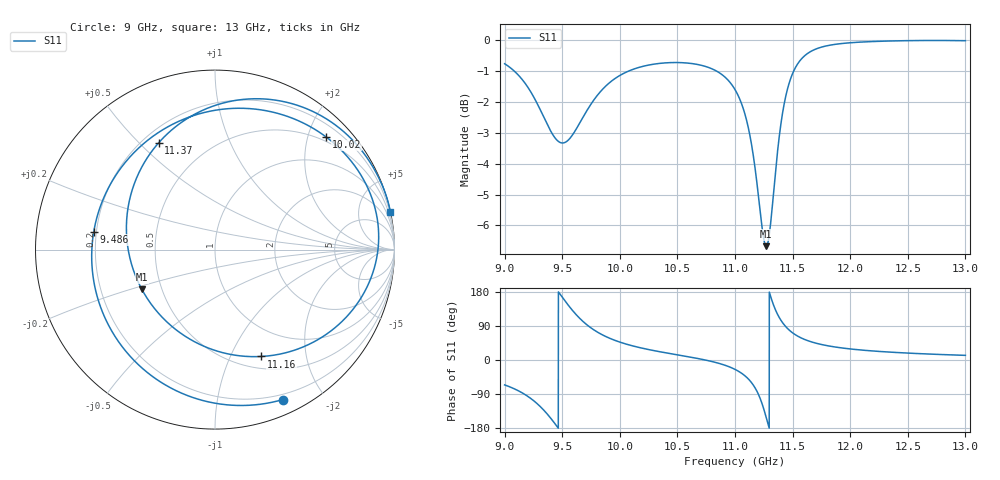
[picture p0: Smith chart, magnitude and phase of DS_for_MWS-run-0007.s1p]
! TOUCHSTONE file generated by CST DESIGN STUDIO
! Date and time: Tue Feb  4 18:21:15 2025
! Project name: C:\Work\MatlabApps\UnitCellOptimizationMatlab\CST\unitcell.cst
! Tree item: Tasks\Sweep1\SPara1\S-Parameters
! Header version: 2024
! Port assignment regex: !\s*Touchstone port\s*([0-9]+)\s*=\s*(CST MWS port|CST DES external port|CST DES block port)\s*(.+)\s* \(\"(.*)\"\)(\s*mode\s*([0-9]+))?.*
! Touchstone port assignment:
! Touchstone port 1 = CST DES external port 1 ("")
# GHz S MA R 50
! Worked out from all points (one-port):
!   4001 points, 9 GHz to 13 GHz, reference 50 ohm
!   lowest |S11| = -6.7 dB at 11.27 GHz (marker M1), VSWR 2.73, Z = 19.3 - j10.8 ohm
!   |S11| at or under -10 dB: nowhere
!   S11 on the Smith chart (normalised r, x): 9 GHz: 0.15, -1.54; 9.486 GHz: 0.19, +0.07; 10.02 GHz: 0.41, +2.34; 11.16 GHz: 0.64, -1.31; 11.37 GHz: 0.26, +0.57; 13 GHz: 0.03, +9.32
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9  0.917 -65.7
9.157  0.8624 -87.5
9.268  0.8 -111.4
9.393  0.7171 -150.9
9.486  0.6828 171.8
9.5  0.682 165.9
9.601  0.7082 126.6
9.699  0.7612 96.8
9.844  0.831 67.1
10  0.8775 47.2
10.02  0.8818 45.3
10.228  0.9105 28.9
10.5  0.921 13.6
10.811  0.8977 -4.8
11  0.8325 -24.7
11.087  0.7587 -41.9
11.16  0.6486 -66.7
11.218  0.5292 -101.2
11.271  0.4639 -151.6
11.319  0.5266 158.5
11.374  0.673 117.8
11.429  0.7929 92.2
11.5  0.884 71.6
11.583  0.9362 57.0
11.685  0.9656 45.9
12  0.9916 29.2
12.5  0.9995 18.2
13  0.9992 12.2
